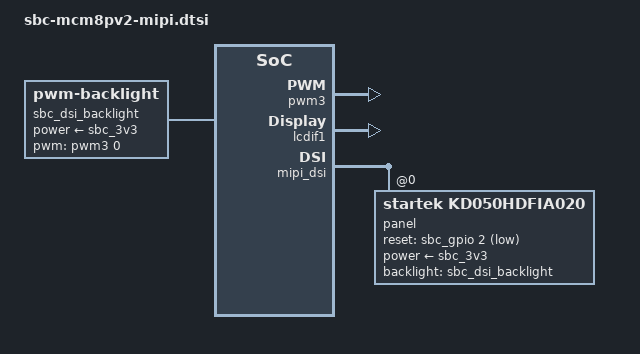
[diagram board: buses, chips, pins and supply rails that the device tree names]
// SPDX-License-Identifier: (GPL-2.0+ OR MIT)
/* Copyright 2026 CompuLab Ltd. */

&{/} {
	sbc_dsi_backlight: backlight-dsi {
		compatible = "pwm-backlight";
		power-supply = <&sbc_3v3>;
		pwms = <&pwm3 0 50000 0>;
		brightness-levels = <0 16 32 64 96 128 160 192 224 255>;
		default-brightness-level = <8>;
	};
};

&pwm3 {
	pinctrl-names = "default";
	pinctrl-0 = <&pinctrl_sbc_pwm3>;
	status = "okay";
};

&lcdif1 {
	status = "okay";
};

&mipi_dsi {
	#address-cells = <1>;
	#size-cells = <0>;
	status = "okay";

	/* Same provisional Startek ILI9881C panel as the U-Boot setup. */
	panel@0 {
		compatible = "startek,kd050hdfia020";
		reg = <0>;
		power-supply = <&sbc_3v3>;
		reset-gpios = <&sbc_gpio 2 GPIO_ACTIVE_LOW>;
		dsi-lanes = <4>;
		backlight = <&sbc_dsi_backlight>;

		panel-timing {
			clock-frequency = <60000000>;
			hactive = <720>;
			vactive = <1280>;
			hfront-porch = <10>;
			hback-porch = <10>;
			hsync-len = <10>;
			vfront-porch = <10>;
			vback-porch = <30>;
			vsync-len = <20>;
			hsync-active = <0>;
			vsync-active = <0>;
			de-active = <0>;
		};
	};
};

&iomuxc {
	pinctrl_sbc_pwm3: sbc-pwm3grp {
		fsl,pins = <
			MX8MP_IOMUXC_SPDIF_TX__PWM3_OUT 0x116
		>;
	};
};
